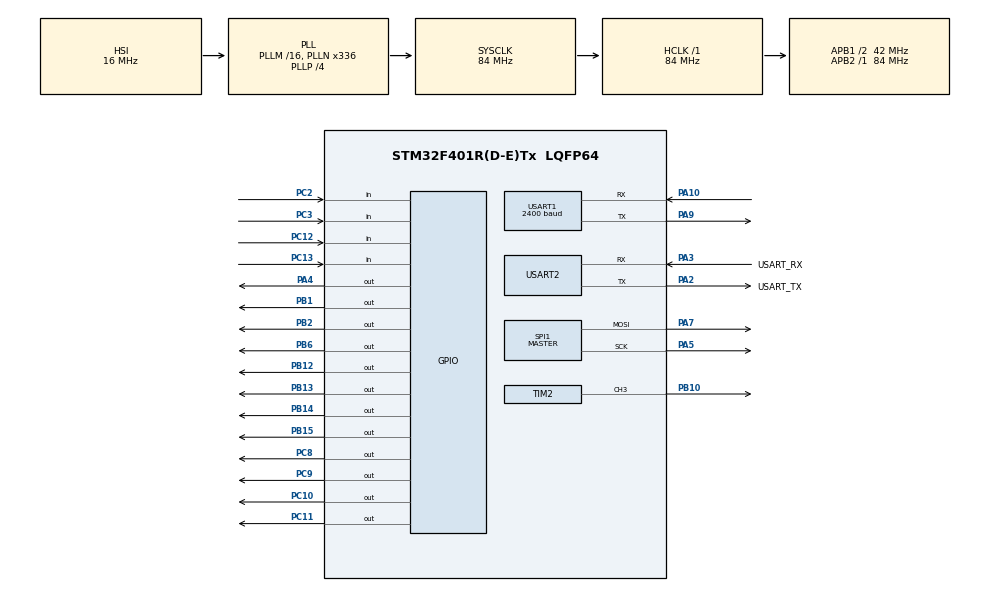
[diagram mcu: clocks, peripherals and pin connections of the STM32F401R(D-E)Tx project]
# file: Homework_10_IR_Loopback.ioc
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Dma.Request0=SPI1_TX
Dma.SPI1_TX.0.Direction=DMA_MEMORY_TO_PERIPH
Dma.SPI1_TX.0.FIFOMode=DMA_FIFOMODE_DISABLE
Dma.SPI1_TX.0.Instance=DMA2_Stream3
Dma.SPI1_TX.0.MemDataAlignment=DMA_MDATAALIGN_BYTE
Dma.SPI1_TX.0.MemInc=DMA_MINC_ENABLE
Dma.SPI1_TX.0.Mode=DMA_NORMAL
Dma.SPI1_TX.0.PeriphDataAlignment=DMA_PDATAALIGN_BYTE
Dma.SPI1_TX.0.PeriphInc=DMA_PINC_DISABLE
Dma.SPI1_TX.0.Priority=DMA_PRIORITY_LOW
Mcu.Family=STM32F4
Mcu.Name=STM32F401R(D-E)Tx
Mcu.Package=LQFP64
NVIC.DMA2_Stream3_IRQn=true\:0\:0\:false\:false\:true\:false\:true\:true
NVIC.PriorityGroup=NVIC_PRIORITYGROUP_0
NVIC.TIM1_BRK_TIM9_IRQn=true\:0\:0\:false\:false\:true\:true\:true\:true
NVIC.TIM1_UP_TIM10_IRQn=true\:0\:0\:true\:false\:true\:true\:true\:true
NVIC.TIM3_IRQn=true\:0\:0\:false\:false\:true\:true\:true\:true
NVIC.TIM4_IRQn=true\:0\:0\:false\:false\:true\:true\:true\:true
NVIC.TIM5_IRQn=true\:0\:0\:false\:false\:true\:true\:true\:true
NVIC.USART1_IRQn=true\:0\:0\:false\:false\:true\:true\:true\:true
PA10.Mode=Asynchronous
PA10.Signal=USART1_RX
PA13.GPIO_Label=TMS
PA13.Mode=Serial_Wire
PA13.Signal=SYS_JTMS-SWDIO
PA14.GPIO_Label=TCK
PA14.Mode=Serial_Wire
PA14.Signal=SYS_JTCK-SWCLK
PA2.GPIO_Label=USART_TX
PA2.GPIO_Mode=GPIO_MODE_AF_PP
PA2.GPIO_PuPd=GPIO_NOPULL
PA2.GPIO_Speed=GPIO_SPEED_FREQ_LOW
PA2.Mode=Asynchronous
PA2.Signal=USART2_TX
PA3.GPIO_Label=USART_RX
PA3.GPIO_Mode=GPIO_MODE_AF_PP
PA3.GPIO_PuPd=GPIO_NOPULL
PA3.GPIO_Speed=GPIO_SPEED_FREQ_LOW
PA3.Mode=Asynchronous
PA3.Signal=USART2_RX
PA4.Signal=GPIO_Output
PA5.Mode=TX_Only_Simplex_Unidirect_Master
PA5.Signal=SPI1_SCK
PA6.Signal=SPI1_MISO
PA7.Mode=TX_Only_Simplex_Unidirect_Master
PA7.Signal=SPI1_MOSI
PA9.Mode=Asynchronous
PA9.Signal=USART1_TX
PB1.Signal=GPIO_Output
PB10.Signal=S_TIM2_CH3
PB12.Signal=GPIO_Output
PB13.Signal=GPIO_Output
PB14.Signal=GPIO_Output
PB15.Signal=GPIO_Output
PB2.Signal=GPIO_Output
PB3.GPIO_Label=SWO
PB3.Signal=SYS_JTDO-SWO
PB6.Signal=GPIO_Output
PC10.Signal=GPIO_Output
PC11.Signal=GPIO_Output
PC12.Signal=GPIO_Input
PC13-ANTI_TAMP.Signal=GPIO_Input
PC14-OSC32_IN.Mode=LSE-External-Oscillator
PC14-OSC32_IN.Signal=RCC_OSC32_IN
PC15-OSC32_OUT.Mode=LSE-External-Oscillator
PC15-OSC32_OUT.Signal=RCC_OSC32_OUT
PC2.Signal=GPIO_Input
PC3.Signal=GPIO_Input
PC8.Signal=GPIO_Output
PC9.Signal=GPIO_Output
PH0\ -\ OSC_IN.Mode=HSE-External-Clock-Source
PH0\ -\ OSC_IN.Signal=RCC_OSC_IN
PH1\ -\ OSC_OUT.Mode=HSE-External-Clock-Source
PH1\ -\ OSC_OUT.Signal=RCC_OSC_OUT
ProjectManager.HeapSize=0x200
ProjectManager.StackSize=0x400
ProjectManager.TargetToolchain=STM32CubeIDE
RCC.48MHZClocksFreq_Value=48000000
RCC.AHBFreq_Value=84000000
RCC.APB1CLKDivider=RCC_HCLK_DIV2
RCC.APB1Freq_Value=42000000
RCC.APB1TimFreq_Value=84000000
RCC.APB2Freq_Value=84000000
RCC.APB2TimFreq_Value=84000000
RCC.CortexFreq_Value=84000000
RCC.HCLKFreq_Value=84000000
RCC.HSE_VALUE=8000000
RCC.HSI_VALUE=16000000
RCC.PLLN=336
RCC.PLLP=RCC_PLLP_DIV4
RCC.PLLQ=7
RCC.SYSCLKFreq_VALUE=84000000
RCC.SYSCLKSource=RCC_SYSCLKSOURCE_PLLCLK
RCC.VCOOutputFreq_Value=336000000
SH.S_TIM2_CH3.0=TIM2_CH3,PWM Generation3 CH3
SPI1.BaudRatePrescaler=SPI_BAUDRATEPRESCALER_4
SPI1.Direction=SPI_DIRECTION_2LINES
SPI1.Mode=SPI_MODE_MASTER
SPI1.VirtualType=VM_MASTER
TIM10.Period=40-1
TIM10.Prescaler=8400-1
TIM2.Channel-PWM\ Generation3\ CH3=TIM_CHANNEL_3
TIM2.Period=10-1
TIM2.Prescaler=221-1
TIM2.Pulse-PWM\ Generation3\ CH3=5
TIM3.Period=10-1
TIM3.Prescaler=3500-1
TIM4.Prescaler=8400-1
TIM5.AutoReloadPreload=TIM_AUTORELOAD_PRELOAD_ENABLE
TIM5.Period=10-1
TIM5.Prescaler=8400-1
TIM9.Period=10-1
TIM9.Prescaler=8400-1
USART1.BaudRate=2400
USART1.VirtualMode=VM_ASYNC
USART2.VirtualMode=VM_ASYNC
VP_TIM10_VS_ClockSourceINT.Mode=Enable_Timer
VP_TIM2_VS_ClockSourceINT.Mode=Internal
VP_TIM3_VS_ClockSourceINT.Mode=Internal
VP_TIM4_VS_ClockSourceINT.Mode=Internal
VP_TIM5_VS_ClockSourceINT.Mode=Internal
VP_TIM9_VS_ClockSourceINT.Mode=Internal
board=NUCLEO-F401RE

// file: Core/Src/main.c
/* USER CODE BEGIN Header */
/**
  ******************************************************************************
  * @file           : main.c
  * @brief          : Main program body
  ******************************************************************************
  * @attention
  *
  * Copyright (c) 2023 STMicroelectronics.
  * All rights reserved.
  *
  * This software is licensed under terms that can be found in the LICENSE file
  * in the root directory of this software component.
  * If no LICENSE file comes with this software, it is provided AS-IS.
  *
  ******************************************************************************
  */
/* USER CODE END Header */
#include "main.h"

/* USER CODE BEGIN Includes */
#include "PMDB16_LCD.h"
#include "stdbool.h"
/* USER CODE END Includes */

/* USER CODE BEGIN PTD */

// The type for the matrix of letters, each letter is a 5x2 array
typedef struct {
	uint8_t all_matrices[5][2];
	char letter;
} combined_matrix;
/* USER CODE END PTD */

/* USER CODE BEGIN PD */
#define MSG_LENGTH 8

#define COL_BANK GPIOC
#define ROW_BANK GPIOC
#define COL_NUM 4
#define ROW_NUM 4
#define DEBOUNCE_DELAY_MS 5
#define COLUMN_CHECK_DELAY_MS 5
#define LONG_PRESS_DURATION_MS 300
/* USER CODE END PD */

/* USER CODE BEGIN PM */
#define LCD_PRINT(board_type_value, row_value) \
		do { \
				lcd_initialize(); \
				lcd_backlight_ON(); \
				lcd_println((board_type_value), (row_value)); \
		} while(0)

#define SET_START_TIMER(htim, delay) do { \
	__HAL_TIM_SET_AUTORELOAD(htim, delay*10); \
	__HAL_TIM_CLEAR_FLAG(htim, TIM_FLAG_UPDATE); \
	HAL_TIM_Base_Start_IT(htim); \
} while(0)
/* USER CODE END PM */

SPI_HandleTypeDef hspi1;
DMA_HandleTypeDef hdma_spi1_tx;

TIM_HandleTypeDef htim2;
TIM_HandleTypeDef htim3;
TIM_HandleTypeDef htim4;
TIM_HandleTypeDef htim5;
TIM_HandleTypeDef htim9;
TIM_HandleTypeDef htim10;

UART_HandleTypeDef huart1;
UART_HandleTypeDef huart2;

/* USER CODE BEGIN PV */
const uint8_t keymap[ROW_NUM][COL_NUM] = {
	{0x30, 0x31, 0x32, 0x33}, // {'0', '1', '2', '3'}
	{0x34, 0x35, 0x36, 0x37}, // {'4', '5', '6', '7'}
	{0x38, 0x39, 0x41, 0x42}, // {'8', '9', 'A', 'B'}
	{0x43, 0x44, 0x45, 0x46}  // {'C', 'D', 'E', 'F'}
};

// Pins for each of the 4 rows and columns
const uint16_t rows_pin[ROW_NUM] = {GPIO_PIN_12, GPIO_PIN_13, GPIO_PIN_2, GPIO_PIN_3};
const uint16_t columns_pin[COL_NUM] = {GPIO_PIN_8, GPIO_PIN_9, GPIO_PIN_10, GPIO_PIN_11};

// Current and previous state of the keyboard
int keyboard_state[ROW_NUM][COL_NUM];
int keyboard_state_old[ROW_NUM][COL_NUM];

int row_idx, col_idx = 0;

// LED matrix
combined_matrix allCombinedMatrices[16] = {
    { {{16,62},  {8,81}, {4,73},  {2,69},  {1,62}}, '0' },
    { {{16,17},  {8,33}, {4,127}, {2,1},   {1,1}},  '1' },
    { {{16,33},  {8,67}, {4,69},  {2,73},  {1,49}}, '2' },
    { {{16,34},  {8,65}, {4,73},  {2,73},  {1,54}}, '3' },
    { {{16,12},  {8,20}, {4,36},  {2,127}, {1,4}},  '4' },
    { {{16,121}, {8,73}, {4,73},  {2,73},  {1,70}}, '5' },
    { {{16,62},  {8,73}, {4,73},  {2,73},  {1,38}}, '6' },
    { {{16,64},  {8,64}, {4,79},  {2,80},  {1,96}}, '7' },
    { {{16,54},  {8,73}, {4,73},  {2,73},  {1,54}}, '8' },
    { {{16,50},  {8,73}, {4,73},  {2,73},  {1,62}}, '9' },
	{ {{16,31},  {8,36}, {4,68},  {2,36},  {1,31}}, 'A' },
	{ {{16,127}, {8,73}, {4,73},  {2,73},  {1,54}}, 'B' },
	{ {{16,62},  {8,65}, {4,65},  {2,65},  {1,34}}, 'C' },
	{ {{16,127}, {8,65}, {4,65},  {2,65},  {1,62}}, 'D' },
	{ {{16,127}, {8,73}, {4,73},  {2,73},  {1,65}}, 'E' },
	{ {{16,127}, {8,72}, {4,72},  {2,72},  {1,64}}, 'F' }
};

// Keeps track of the duration of the press
uint16_t check_counter = 0;

uint16_t buffer[5];
uint8_t position = 0;

// IR TX
uint8_t ir_msg[MSG_LENGTH] = {0,0,0,1,1,0,0,1};
int ir_idx = 0;
bool tx_flag = false;

// IR RX
uint8_t receive_msg = 0;

// LCD message
char *board_type = "IR Loopback";
/* USER CODE END PV */

void SystemClock_Config(void);
static void MX_GPIO_Init(void);
static void MX_DMA_Init(void);
static void MX_USART2_UART_Init(void);
static void MX_SPI1_Init(void);
static void MX_TIM2_Init(void);
static void MX_TIM3_Init(void);
static void MX_TIM4_Init(void);
static void MX_TIM5_Init(void);
static void MX_TIM10_Init(void);
static void MX_TIM9_Init(void);
static void MX_USART1_UART_Init(void);

/* USER CODE BEGIN 0 */
void copyAndInvertBits(uint8_t source, uint8_t destination[MSG_LENGTH]) {
	for (int i = 0; i < MSG_LENGTH; ++i) {
			// Extract the i-th bit from the source
			uint8_t bit = (source >> i) & 1;

			// Set the i-th element in the destination array
			destination[i] = bit;
	}
}

void IR_UART_Setup(){
	HAL_TIM_Base_Start_IT(&htim3);
	HAL_TIM_PWM_Start(&htim2, TIM_CHANNEL_3);
}

void IR_UART_Transmit(void){
	if(ir_idx >= MSG_LENGTH){
		HAL_TIM_PWM_Stop(&htim2, TIM_CHANNEL_3);
		HAL_TIM_Base_Stop_IT(&htim3);
		ir_idx = 0;
		tx_flag = false;
		SET_START_TIMER(&htim4, COLUMN_CHECK_DELAY_MS);
	} else {
		if(ir_msg[ir_idx] == 0){
			HAL_TIM_PWM_Start(&htim2, TIM_CHANNEL_3);
		} else {
			HAL_TIM_PWM_Stop(&htim2, TIM_CHANNEL_3);
		}
		ir_idx++;
	}
}

void debounce(int debounce_delay_ms) {
	SET_START_TIMER(&htim10, debounce_delay_ms);
	// Nothing will happen until the timer callback is entered
}

void scan_column(void) {
	// Stop TIM4
	HAL_TIM_Base_Stop_IT(&htim4);

	// Copy last state of the keyboard
	memcpy(keyboard_state_old, keyboard_state, sizeof(keyboard_state));

	// Set column to scan
	HAL_GPIO_WritePin(COL_BANK, columns_pin[col_idx], GPIO_PIN_SET);

	if(!tx_flag) {
		debounce(DEBOUNCE_DELAY_MS);
	}
}

void scan_row(void) {
	// Update the row index and start the procedure for a new key inspection
	row_idx++;

	if (row_idx < ROW_NUM && !tx_flag){
		debounce(DEBOUNCE_DELAY_MS);
    }
	// If all rows within a column have been inspected, reset the column and bring the row index back to 0
	else {
    	// Reset column after scan
    	HAL_GPIO_WritePin(COL_BANK, columns_pin[col_idx], GPIO_PIN_RESET);

    	row_idx = 0;

    	// Update column index
    	col_idx = (col_idx < COL_NUM-1) ? col_idx + 1 : 0;

    	// Restart TIM4
    	if(tx_flag){
    		IR_UART_Setup();
    	} else {
    		SET_START_TIMER(&htim4, COLUMN_CHECK_DELAY_MS);
    	}
	}
}

void check_and_transmit_key(int row_idx, int col_idx) {
	if (!HAL_GPIO_ReadPin(ROW_BANK, rows_pin[row_idx])) {
		keyboard_state[row_idx][col_idx] = 1;
		HAL_TIM_Base_Start_IT(&htim9);
	} else {
		// Nothing needs to be sent
		keyboard_state[row_idx][col_idx] = 0;
		scan_row(); // Move on to the next row
	}
}

void longpress_check(void){
	// The timer generates an interrupt evry ms, and each time the counter is increased.
	// The number is compared against the desired delay in ms
	// If the timer were set to trigger at different intervals the counter value would require adjusting
	if(check_counter < (LONG_PRESS_DURATION_MS - DEBOUNCE_DELAY_MS)){
		check_counter++;
		if (HAL_GPIO_ReadPin(ROW_BANK, rows_pin[row_idx])) {
			// The button has been released too soon, exit immediately by increasing the counter beyond the upper limit
			keyboard_state[row_idx][col_idx] = 0;
			check_counter = (LONG_PRESS_DURATION_MS - DEBOUNCE_DELAY_MS);
		}
	}

	// The button was kept pressed all along. If it was its first pressure, update key and send the value
	else {
		// The timer is no longer needed and the counter must be reset to be ready for use the next time a key is pressed
		HAL_TIM_Base_Stop_IT(&htim9);
		check_counter = 0;
		// If pressure was new, send it
		if (keyboard_state[row_idx][col_idx] == 1 && keyboard_state_old[row_idx][col_idx] == 0) {
			uint8_t key = keymap[row_idx][col_idx];
			copyAndInvertBits(key, ir_msg);
			tx_flag = true;
		}
		scan_row(); // Move on to the next row
	}
}

void buffer_cpy(uint16_t *buffer, uint8_t to_buffer[][2]) {
    // Place all elements in a buffer to be sent by SPI
    for (int i = 0; i < 5; i++) {
        buffer[i] = (uint16_t)((to_buffer[i][0] << 8) | (to_buffer[i][1] & 0xFF));
    }
}

void draw_matrix_letter(uint16_t *buffer, int position){
	HAL_SPI_Transmit_DMA(&hspi1,(uint8_t*)&buffer[position], 2);
}

// Function to copy buffer based on received letter
void handleReceivedLetter(char letter, uint16_t *buffer) {
	for (int i = 0; i < 16; ++i) {
	    if (allCombinedMatrices[i].letter == letter) {
	        buffer_cpy(buffer, allCombinedMatrices[i].all_matrices);
	    }
	}
}

void HAL_SPI_TxCpltCallback(SPI_HandleTypeDef *hspi){
	HAL_GPIO_WritePin(GPIOB,GPIO_PIN_6, GPIO_PIN_SET);
	HAL_GPIO_WritePin(GPIOB,GPIO_PIN_6, GPIO_PIN_RESET);
	if(++position >= 5)
		position = 0;
}

// Callback function for UART reception complete
void HAL_UART_RxCpltCallback(UART_HandleTypeDef *huart) {
	if (huart == &huart1) {
		// Pause the SPI transmission
		HAL_SPI_DMAPause(&hspi1);

		// Handle different letters in receive_msg
		handleReceivedLetter(receive_msg, buffer);

		// Resume the SPI transmission
		HAL_SPI_DMAResume(&hspi1);

		// Restart UART reception
		HAL_UART_Receive_IT(&huart1, &receive_msg, 1);
	}
}

void HAL_TIM_PeriodElapsedCallback(TIM_HandleTypeDef *htim){
	if (htim==&htim3){
		IR_UART_Transmit();
	} else if (htim==&htim4){
		scan_column();
	} else if (htim==&htim5){
		draw_matrix_letter(buffer, position);
	}
	else if (htim==&htim10){
		// Debouncing has been performed, so the timer can be stopped and the key value can be checked
		HAL_TIM_Base_Stop_IT(&htim10);
		check_and_transmit_key(row_idx, col_idx);
	}
	else if (htim==&htim9){
		// If a prolonged pressure is required, check the button is down throughout the desired duration
		longpress_check();
	}
}

/* USER CODE END 0 */

int main(void)
{

  /* MCU Configuration--------------------------------------------------------*/

  /* Reset of all peripherals, Initializes the Flash interface and the Systick. */
  HAL_Init();

  /* Configure the system clock */
  SystemClock_Config();

  /* Initialize all configured peripherals */
  MX_GPIO_Init();
  MX_DMA_Init();
  MX_USART2_UART_Init();
  MX_SPI1_Init();
  MX_TIM2_Init();
  MX_TIM3_Init();
  MX_TIM4_Init();
  MX_TIM5_Init();
  MX_TIM9_Init();
  MX_TIM10_Init();
  MX_USART1_UART_Init();
  /* USER CODE BEGIN 2 */

  // LCD message
    LCD_PRINT(board_type, 0);

  // Start the necessary timers in the appropriate manner
  __HAL_TIM_CLEAR_FLAG(&htim3, TIM_FLAG_UPDATE);
  SET_START_TIMER(&htim4, COLUMN_CHECK_DELAY_MS);
  HAL_TIM_Base_Start_IT(&htim5);

  // Initialize the buffer to the first alphanumeric symbol
  //buffer_cpy(buffer, allCombinedMatrices[0].all_matrices);

  // Prepare to receive new data via IR
  HAL_UART_Receive_IT(&huart1, &receive_msg, 1);

  /* USER CODE END 2 */

  /* Infinite loop */
  while (1)
  {

  }
}

void SystemClock_Config(void)
{
  RCC_OscInitTypeDef RCC_OscInitStruct = {0};
  RCC_ClkInitTypeDef RCC_ClkInitStruct = {0};

  /** Configure the main internal regulator output voltage
  */
  __HAL_RCC_PWR_CLK_ENABLE();
  __HAL_PWR_VOLTAGESCALING_CONFIG(PWR_REGULATOR_VOLTAGE_SCALE2);

  /** Initializes the RCC Oscillators according to the specified parameters
  * in the RCC_OscInitTypeDef structure.
  */
  RCC_OscInitStruct.OscillatorType = RCC_OSCILLATORTYPE_HSI;
  RCC_OscInitStruct.HSIState = RCC_HSI_ON;
  RCC_OscInitStruct.HSICalibrationValue = RCC_HSICALIBRATION_DEFAULT;
  RCC_OscInitStruct.PLL.PLLState = RCC_PLL_ON;
  RCC_OscInitStruct.PLL.PLLSource = RCC_PLLSOURCE_HSI;
  RCC_OscInitStruct.PLL.PLLM = 16;
  RCC_OscInitStruct.PLL.PLLN = 336;
  RCC_OscInitStruct.PLL.PLLP = RCC_PLLP_DIV4;
  RCC_OscInitStruct.PLL.PLLQ = 7;
  if (HAL_RCC_OscConfig(&RCC_OscInitStruct) != HAL_OK)
  {
    Error_Handler();
  }

  /** Initializes the CPU, AHB and APB buses clocks
  */
  RCC_ClkInitStruct.ClockType = RCC_CLOCKTYPE_HCLK|RCC_CLOCKTYPE_SYSCLK
                              |RCC_CLOCKTYPE_PCLK1|RCC_CLOCKTYPE_PCLK2;
  RCC_ClkInitStruct.SYSCLKSource = RCC_SYSCLKSOURCE_PLLCLK;
  RCC_ClkInitStruct.AHBCLKDivider = RCC_SYSCLK_DIV1;
  RCC_ClkInitStruct.APB1CLKDivider = RCC_HCLK_DIV2;
  RCC_ClkInitStruct.APB2CLKDivider = RCC_HCLK_DIV1;

  if (HAL_RCC_ClockConfig(&RCC_ClkInitStruct, FLASH_LATENCY_2) != HAL_OK)
  {
    Error_Handler();
  }
}

static void MX_SPI1_Init(void)
{

  /* SPI1 parameter configuration*/
  hspi1.Instance = SPI1;
  hspi1.Init.Mode = SPI_MODE_MASTER;
  hspi1.Init.Direction = SPI_DIRECTION_2LINES;
  hspi1.Init.DataSize = SPI_DATASIZE_8BIT;
  hspi1.Init.CLKPolarity = SPI_POLARITY_LOW;
  hspi1.Init.CLKPhase = SPI_PHASE_1EDGE;
  hspi1.Init.NSS = SPI_NSS_SOFT;
  hspi1.Init.BaudRatePrescaler = SPI_BAUDRATEPRESCALER_4;
  hspi1.Init.FirstBit = SPI_FIRSTBIT_MSB;
  hspi1.Init.TIMode = SPI_TIMODE_DISABLE;
  hspi1.Init.CRCCalculation = SPI_CRCCALCULATION_DISABLE;
  hspi1.Init.CRCPolynomial = 10;
  if (HAL_SPI_Init(&hspi1) != HAL_OK)
  {
    Error_Handler();
  }

}

static void MX_TIM2_Init(void)
{

  TIM_ClockConfigTypeDef sClockSourceConfig = {0};
  TIM_MasterConfigTypeDef sMasterConfig = {0};
  TIM_OC_InitTypeDef sConfigOC = {0};

  htim2.Instance = TIM2;
  htim2.Init.Prescaler = 221-1;
  htim2.Init.CounterMode = TIM_COUNTERMODE_UP;
  htim2.Init.Period = 10-1;
  htim2.Init.ClockDivision = TIM_CLOCKDIVISION_DIV1;
  htim2.Init.AutoReloadPreload = TIM_AUTORELOAD_PRELOAD_DISABLE;
  if (HAL_TIM_Base_Init(&htim2) != HAL_OK)
  {
    Error_Handler();
  }
  sClockSourceConfig.ClockSource = TIM_CLOCKSOURCE_INTERNAL;
  if (HAL_TIM_ConfigClockSource(&htim2, &sClockSourceConfig) != HAL_OK)
  {
    Error_Handler();
  }
  if (HAL_TIM_PWM_Init(&htim2) != HAL_OK)
  {
    Error_Handler();
  }
  sMasterConfig.MasterOutputTrigger = TIM_TRGO_RESET;
  sMasterConfig.MasterSlaveMode = TIM_MASTERSLAVEMODE_DISABLE;
  if (HAL_TIMEx_MasterConfigSynchronization(&htim2, &sMasterConfig) != HAL_OK)
  {
    Error_Handler();
  }
  sConfigOC.OCMode = TIM_OCMODE_PWM1;
  sConfigOC.Pulse = 5;
  sConfigOC.OCPolarity = TIM_OCPOLARITY_HIGH;
  sConfigOC.OCFastMode = TIM_OCFAST_DISABLE;
  if (HAL_TIM_PWM_ConfigChannel(&htim2, &sConfigOC, TIM_CHANNEL_3) != HAL_OK)
  {
    Error_Handler();
  }
  HAL_TIM_MspPostInit(&htim2);

}

static void MX_TIM3_Init(void)
{

  TIM_ClockConfigTypeDef sClockSourceConfig = {0};
  TIM_MasterConfigTypeDef sMasterConfig = {0};

  htim3.Instance = TIM3;
  htim3.Init.Prescaler = 3500-1;
  htim3.Init.CounterMode = TIM_COUNTERMODE_UP;
  htim3.Init.Period = 10-1;
  htim3.Init.ClockDivision = TIM_CLOCKDIVISION_DIV1;
  htim3.Init.AutoReloadPreload = TIM_AUTORELOAD_PRELOAD_DISABLE;
  if (HAL_TIM_Base_Init(&htim3) != HAL_OK)
  {
    Error_Handler();
  }
  sClockSourceConfig.ClockSource = TIM_CLOCKSOURCE_INTERNAL;
  if (HAL_TIM_ConfigClockSource(&htim3, &sClockSourceConfig) != HAL_OK)
  {
    Error_Handler();
  }
  sMasterConfig.MasterOutputTrigger = TIM_TRGO_RESET;
  sMasterConfig.MasterSlaveMode = TIM_MASTERSLAVEMODE_DISABLE;
  if (HAL_TIMEx_MasterConfigSynchronization(&htim3, &sMasterConfig) != HAL_OK)
  {
    Error_Handler();
  }

}

static void MX_TIM4_Init(void)
{

  TIM_ClockConfigTypeDef sClockSourceConfig = {0};
  TIM_MasterConfigTypeDef sMasterConfig = {0};

  htim4.Instance = TIM4;
  htim4.Init.Prescaler = 8400-1;
  htim4.Init.CounterMode = TIM_COUNTERMODE_UP;
  htim4.Init.Period = 65535;
  htim4.Init.ClockDivision = TIM_CLOCKDIVISION_DIV1;
  htim4.Init.AutoReloadPreload = TIM_AUTORELOAD_PRELOAD_DISABLE;
  if (HAL_TIM_Base_Init(&htim4) != HAL_OK)
  {
    Error_Handler();
  }
  sClockSourceConfig.ClockSource = TIM_CLOCKSOURCE_INTERNAL;
  if (HAL_TIM_ConfigClockSource(&htim4, &sClockSourceConfig) != HAL_OK)
  {
    Error_Handler();
  }
  sMasterConfig.MasterOutputTrigger = TIM_TRGO_RESET;
  sMasterConfig.MasterSlaveMode = TIM_MASTERSLAVEMODE_DISABLE;
  if (HAL_TIMEx_MasterConfigSynchronization(&htim4, &sMasterConfig) != HAL_OK)
  {
    Error_Handler();
  }

}

static void MX_TIM5_Init(void)
{

  TIM_ClockConfigTypeDef sClockSourceConfig = {0};
  TIM_MasterConfigTypeDef sMasterConfig = {0};

  htim5.Instance = TIM5;
  htim5.Init.Prescaler = 8400-1;
  htim5.Init.CounterMode = TIM_COUNTERMODE_UP;
  htim5.Init.Period = 10-1;
  htim5.Init.ClockDivision = TIM_CLOCKDIVISION_DIV1;
  htim5.Init.AutoReloadPreload = TIM_AUTORELOAD_PRELOAD_ENABLE;
  if (HAL_TIM_Base_Init(&htim5) != HAL_OK)
  {
    Error_Handler();
  }
  sClockSourceConfig.ClockSource = TIM_CLOCKSOURCE_INTERNAL;
  if (HAL_TIM_ConfigClockSource(&htim5, &sClockSourceConfig) != HAL_OK)
  {
    Error_Handler();
  }
  sMasterConfig.MasterOutputTrigger = TIM_TRGO_RESET;
  sMasterConfig.MasterSlaveMode = TIM_MASTERSLAVEMODE_DISABLE;
  if (HAL_TIMEx_MasterConfigSynchronization(&htim5, &sMasterConfig) != HAL_OK)
  {
    Error_Handler();
  }

}

static void MX_TIM9_Init(void)
{

  TIM_ClockConfigTypeDef sClockSourceConfig = {0};

  htim9.Instance = TIM9;
  htim9.Init.Prescaler = 8400-1;
  htim9.Init.CounterMode = TIM_COUNTERMODE_UP;
  htim9.Init.Period = 10-1;
  htim9.Init.ClockDivision = TIM_CLOCKDIVISION_DIV1;
  htim9.Init.AutoReloadPreload = TIM_AUTORELOAD_PRELOAD_DISABLE;
  if (HAL_TIM_Base_Init(&htim9) != HAL_OK)
  {
    Error_Handler();
  }
  sClockSourceConfig.ClockSource = TIM_CLOCKSOURCE_INTERNAL;
  if (HAL_TIM_ConfigClockSource(&htim9, &sClockSourceConfig) != HAL_OK)
  {
    Error_Handler();
  }

}

static void MX_TIM10_Init(void)
{

  htim10.Instance = TIM10;
  htim10.Init.Prescaler = 8400-1;
  htim10.Init.CounterMode = TIM_COUNTERMODE_UP;
  htim10.Init.Period = 40-1;
  htim10.Init.ClockDivision = TIM_CLOCKDIVISION_DIV1;
  htim10.Init.AutoReloadPreload = TIM_AUTORELOAD_PRELOAD_DISABLE;
  if (HAL_TIM_Base_Init(&htim10) != HAL_OK)
  {
    Error_Handler();
  }

}

static void MX_USART1_UART_Init(void)
{

  huart1.Instance = USART1;
  huart1.Init.BaudRate = 2400;
  huart1.Init.WordLength = UART_WORDLENGTH_8B;
  huart1.Init.StopBits = UART_STOPBITS_1;
  huart1.Init.Parity = UART_PARITY_NONE;
  huart1.Init.Mode = UART_MODE_TX_RX;
  huart1.Init.HwFlowCtl = UART_HWCONTROL_NONE;
  huart1.Init.OverSampling = UART_OVERSAMPLING_16;
  if (HAL_UART_Init(&huart1) != HAL_OK)
  {
    Error_Handler();
  }

}

static void MX_USART2_UART_Init(void)
{

  huart2.Instance = USART2;
  huart2.Init.BaudRate = 115200;
  huart2.Init.WordLength = UART_WORDLENGTH_8B;
  huart2.Init.StopBits = UART_STOPBITS_1;
  huart2.Init.Parity = UART_PARITY_NONE;
  huart2.Init.Mode = UART_MODE_TX_RX;
  huart2.Init.HwFlowCtl = UART_HWCONTROL_NONE;
  huart2.Init.OverSampling = UART_OVERSAMPLING_16;
  if (HAL_UART_Init(&huart2) != HAL_OK)
  {
    Error_Handler();
  }

}

static void MX_DMA_Init(void)
{

  /* DMA controller clock enable */
  __HAL_RCC_DMA2_CLK_ENABLE();

  /* DMA interrupt init */
  /* DMA2_Stream3_IRQn interrupt configuration */
  HAL_NVIC_SetPriority(DMA2_Stream3_IRQn, 0, 0);
  HAL_NVIC_EnableIRQ(DMA2_Stream3_IRQn);

}

static void MX_GPIO_Init(void)
{
  GPIO_InitTypeDef GPIO_InitStruct = {0};

  /* GPIO Ports Clock Enable */
  __HAL_RCC_GPIOC_CLK_ENABLE();
  __HAL_RCC_GPIOH_CLK_ENABLE();
  __HAL_RCC_GPIOA_CLK_ENABLE();
  __HAL_RCC_GPIOB_CLK_ENABLE();

  /*Configure GPIO pin Output Level */
  HAL_GPIO_WritePin(GPIOA, GPIO_PIN_4, GPIO_PIN_RESET);

  /*Configure GPIO pin Output Level */
  HAL_GPIO_WritePin(GPIOB, GPIO_PIN_1|GPIO_PIN_2|GPIO_PIN_12|GPIO_PIN_13
                          |GPIO_PIN_14|GPIO_PIN_15|GPIO_PIN_6, GPIO_PIN_RESET);

  /*Configure GPIO pin Output Level */
  HAL_GPIO_WritePin(GPIOC, GPIO_PIN_8|GPIO_PIN_9|GPIO_PIN_10|GPIO_PIN_11, GPIO_PIN_RESET);

  /*Configure GPIO pins : PC13 PC2 PC3 PC12 */
  GPIO_InitStruct.Pin = GPIO_PIN_13|GPIO_PIN_2|GPIO_PIN_3|GPIO_PIN_12;
  GPIO_InitStruct.Mode = GPIO_MODE_INPUT;
  GPIO_InitStruct.Pull = GPIO_NOPULL;
  HAL_GPIO_Init(GPIOC, &GPIO_InitStruct);

  /*Configure GPIO pin : PA4 */
  GPIO_InitStruct.Pin = GPIO_PIN_4;
  GPIO_InitStruct.Mode = GPIO_MODE_OUTPUT_PP;
  GPIO_InitStruct.Pull = GPIO_NOPULL;
  GPIO_InitStruct.Speed = GPIO_SPEED_FREQ_LOW;
  HAL_GPIO_Init(GPIOA, &GPIO_InitStruct);

  /*Configure GPIO pins : PB1 PB2 PB12 PB13
                           PB14 PB15 PB6 */
  GPIO_InitStruct.Pin = GPIO_PIN_1|GPIO_PIN_2|GPIO_PIN_12|GPIO_PIN_13
                          |GPIO_PIN_14|GPIO_PIN_15|GPIO_PIN_6;
  GPIO_InitStruct.Mode = GPIO_MODE_OUTPUT_PP;
  GPIO_InitStruct.Pull = GPIO_NOPULL;
  GPIO_InitStruct.Speed = GPIO_SPEED_FREQ_LOW;
  HAL_GPIO_Init(GPIOB, &GPIO_InitStruct);

  /*Configure GPIO pins : PC8 PC9 PC10 PC11 */
  GPIO_InitStruct.Pin = GPIO_PIN_8|GPIO_PIN_9|GPIO_PIN_10|GPIO_PIN_11;
  GPIO_InitStruct.Mode = GPIO_MODE_OUTPUT_PP;
  GPIO_InitStruct.Pull = GPIO_NOPULL;
  GPIO_InitStruct.Speed = GPIO_SPEED_FREQ_LOW;
  HAL_GPIO_Init(GPIOC, &GPIO_InitStruct);

}

void Error_Handler(void)
{
  __disable_irq();
  while (1)
  {
  }
}
